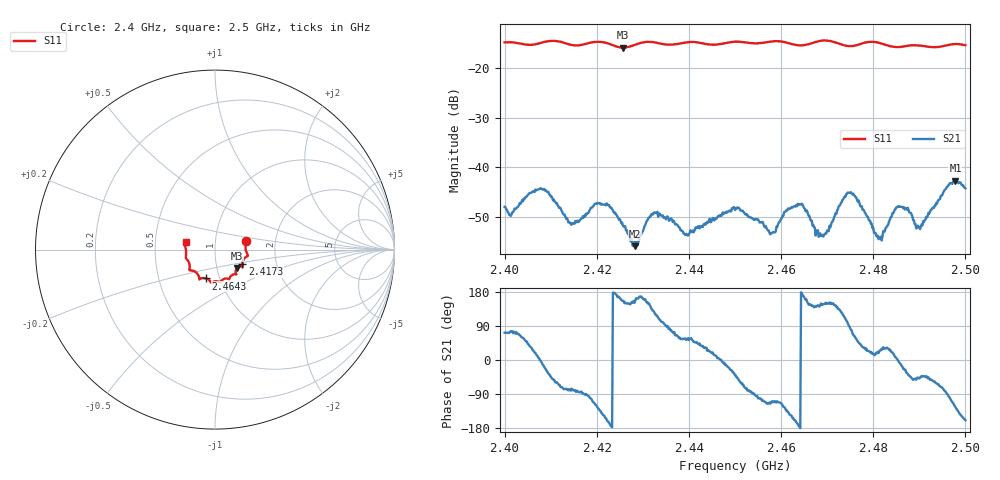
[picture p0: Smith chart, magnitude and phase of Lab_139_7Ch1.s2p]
# Hz S RI R
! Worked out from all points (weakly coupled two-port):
!   601 points, 2.4 GHz to 2.5 GHz, reference 50 ohm
!   highest |S21| = -42.68 dB at 2.4978 GHz (marker M1); lowest = -55.8 dB at 2.4283 GHz (marker M2)
!   lowest |S11| = -15.9 dB at 2.4257 GHz (marker M3), VSWR 1.38, Z = 62.4 - j13.1 ohm
!   |S11| at or under -10 dB: start of sweep to end of sweep
!   S12 and S22 are empty: the file has one direction only
!   S11 on the Smith chart (normalised r, x): 2.4 GHz: 1.41, +0.15; 2.4173 GHz: 1.34, -0.23; 2.4643 GHz: 0.86, -0.28; 2.5 GHz: 0.72, +0.06
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2.4e9  0.1734 0.0498  0.00124 0.00383  0 0  0 0
2.408167e9  0.1787 -0.0221  0.00596 -0.00103  0 0  0 0
2.414167e9  0.1646 -0.048  0.00061 -0.00272  0 0  0 0
2.416667e9  0.1529 -0.0747  0.000372 -0.00306  0 0  0 0
2.417333e9  0.1523 -0.082  -3.89e-05 -0.0033  0 0  0 0
2.422167e9  0.1506 -0.0942  -0.00403 -0.00165  0 0  0 0
2.425667e9  0.1225 -0.1024  -0.00238 0.00107  0 0  0 0
2.428333e9  0.1154 -0.1264  -0.00148 0.000667  0 0  0 0
2.433333e9  0.1128 -0.1369  -0.00117 0.00297  0 0  0 0
2.4395e9  0.0803 -0.1616  0.00121 0.00177  0 0  0 0
2.45e9  0.0295 -0.1809  0.00285 -0.00241  0 0  0 0
2.458e9  -0.0185 -0.1832  -0.00072 -0.00207  0 0  0 0
2.464333e9  -0.0503 -0.1606  -0.00425 9.5e-05  0 0  0 0
2.466667e9  -0.0763 -0.1598  -0.00231 0.0018  0 0  0 0
2.469333e9  -0.0878 -0.1669  -0.00178 0.00113  0 0  0 0
2.474833e9  -0.1049 -0.1279  0.00013 0.00555  0 0  0 0
2.481333e9  -0.1421 -0.1073  0.00179 0.000779  0 0  0 0
2.483333e9  -0.1406 -0.0894  0.0024 0.00135  0 0  0 0
2.485833e9  -0.149 -0.0643  0.00397 -0.00064  0 0  0 0
2.490167e9  -0.1625 -0.0402  0.00166 -0.00173  0 0  0 0
2.497833e9  -0.1708 0.031  -0.0041 -0.00609  0 0  0 0
2.5e9  -0.1635 0.042  -0.00575 -0.00222  0 0  0 0
